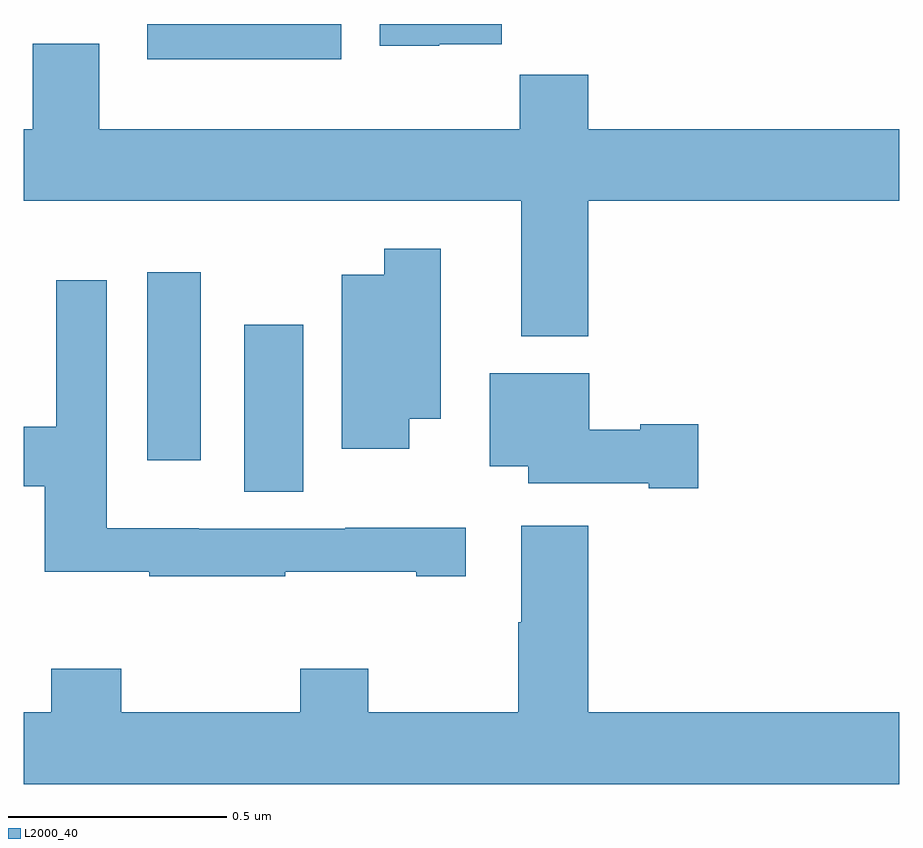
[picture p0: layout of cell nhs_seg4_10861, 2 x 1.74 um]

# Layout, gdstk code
import gdstk
lib = gdstk.Library(unit=1e-6, precision=1e-09)
def R(c, l, rs):  # rectangles x0, y0, x1, y1
    for r in rs: c.add(gdstk.rectangle(r[:2], r[2:], *l))
def P(c, l, *ps):  # polygons
    for p in ps: c.add(gdstk.Polygon(p, *l))
L2000_40 = (2000, 40)

nhs_seg4_10861 = lib.new_cell('nhs_seg4_10861')
R(nhs_seg4_10861, L2000_40, [(245.504,786.832,245.638,787.213), (245.282,786.903,245.404,787.333), (245.282,787.82,245.725,787.9)])
P(nhs_seg4_10861, L2000_40, [(245.949,787.854),(246.092,787.854),(246.092,787.9),(245.813,787.9),(245.813,787.85),(245.949,787.85)],
  [(246.29,787.496),(247,787.496),(247,787.66),(246.29,787.66),(246.29,787.784),(246.133,787.784),(246.133,787.66),(245.173,787.66),(245.173,787.855),(245.021,787.855),(245.021,787.66),(245,787.66),(245,787.496),(246.137,787.496),(246.137,787.187),(246.29,787.187)],
  [(245.881,786.998),(245.953,786.998),(245.953,787.387),(245.824,787.387),(245.824,787.327),(245.726,787.327),(245.726,786.93),(245.881,786.93)],
  [(245.597,786.649),(245.897,786.649),(245.897,786.639),(246.01,786.639),(246.01,786.749),(245.734,786.749),(245.734,786.747),(245.4,786.747),(245.4,786.748),(245.19,786.748),(245.19,787.315),(245.074,787.315),(245.074,786.98),(245,786.98),(245,786.844),(245.048,786.844),(245.048,786.649),(245.287,786.649),(245.287,786.639),(245.597,786.639)],
  [(246.541,786.986),(246.408,786.986),(246.408,786.973),(246.292,786.973),(246.292,787.102),(246.065,787.102),(246.065,786.89),(246.152,786.89),(246.152,786.851),(246.428,786.851),(246.428,786.839),(246.541,786.839)],
  [(247,786.328),(246.29,786.328),(246.29,786.754),(246.137,786.754),(246.137,786.533),(246.13,786.533),(246.13,786.328),(245.787,786.328),(245.787,786.427),(245.632,786.427),(245.632,786.328),(245.223,786.328),(245.223,786.427),(245.063,786.427),(245.063,786.328),(245,786.328),(245,786.164),(247,786.164)])

lib.write_gds('nhs_seg4_10861.gds')
